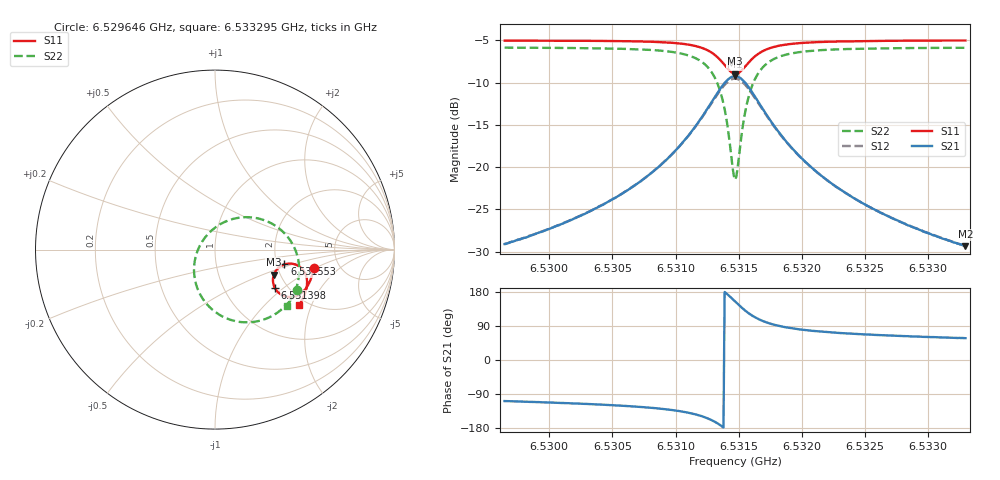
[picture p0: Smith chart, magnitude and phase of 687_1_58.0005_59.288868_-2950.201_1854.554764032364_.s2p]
#  HZ  S  RI  R  50.00
! Rohde & Schwarz Vector Network Analyzer
! Rohde-Schwarz,ZNB20-2Port,1311601062101988,3.16
! Created: UTC 3/21/2024, 1:21:06 AM
! freq[Hz]  re:S11  im:S11  re:S21  im:S21  re:S12  im:S12  re:S22  im:S22
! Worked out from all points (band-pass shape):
!   401 points, 6.529646 GHz to 6.533295 GHz, reference 50 ohm
!   highest |S21| = -9.24 dB at 6.531471 GHz (marker M1); lowest = -29.4 dB at 6.533295 GHz (marker M2)
!   |S21| within 3 dB of the highest: 6.531288 GHz to 6.531653 GHz (364.9 kHz wide, 0.00559 % of centre)
!   lowest |S11| = -9.0 dB at 6.531471 GHz (marker M3), VSWR 2.11, Z = 92.8 - j29.5 ohm
!   |S11| at or under -10 dB: nowhere
!   |S22| runs from -21.5 to -5.9 dB; largest |S21 - S12| = 0.015
!   S11 on the Smith chart (normalised r, x): 6.529646 GHz: 3.23, -0.98; 6.531398 GHz: 1.72, -0.87; 6.531553 GHz: 2.20, -0.43; 6.533295 GHz: 1.83, -1.64
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6.5296462e9  0.5506 -0.1037  -0.011 -0.0332  -0.0117 -0.0331  0.4574 -0.2233
6.5302574e9  0.5369 -0.1557  -0.0224 -0.0468  -0.0235 -0.0464  0.4204 -0.2815
6.530604e9  0.5229 -0.1893  -0.0373 -0.0613  -0.0389 -0.0604  0.3817 -0.3239
6.5308686e9  0.5039 -0.2197  -0.0621 -0.0792  -0.0646 -0.0773  0.3261 -0.3648
6.5310784e9  0.4729 -0.2478  -0.108 -0.0985  -0.111 -0.0945  0.2343 -0.3997
6.5312426e9  0.4193 -0.2643  -0.1915 -0.0998  -0.1935 -0.0913  0.083 -0.3902
6.5313338e9  0.3683 -0.2507  -0.2697 -0.0597  -0.2668 -0.0477  -0.0433 -0.3063
6.5313703e9  0.3464 -0.2325  -0.3017 -0.0219  -0.2952 -0.0101  -0.0892 -0.2368
6.5313977e9  0.3326 -0.2122  -0.32 0.0167  -0.3106 0.0277  -0.1114 -0.1689
6.5314524e9  0.3236 -0.158  -0.3238 0.1141  -0.3102 0.1192  -0.098 -0.00893
6.5314707e9  0.3284 -0.139  -0.3122 0.147  -0.2983 0.1498  -0.0728 0.0425
6.5314889e9  0.337 -0.1213  -0.2944 0.177  -0.2808 0.1774  -0.038 0.0877
6.5315254e9  0.363 -0.0942  -0.2447 0.2224  -0.2338 0.2191  0.0508 0.1528
6.5315528e9  0.3864 -0.0823  -0.2026 0.2412  -0.1941 0.2366  0.1233 0.176
6.5315893e9  0.417 -0.0776  -0.1492 0.2485  -0.1434 0.2435  0.2133 0.1783
6.5316257e9  0.443 -0.0816  -0.1046 0.2419  -0.1008 0.2375  0.287 0.1589
6.5317352e9  0.4895 -0.1127  -0.0256 0.1946  -0.0241 0.1924  0.4122 0.0612
6.5318629e9  0.5083 -0.1485  0.00787 0.1454  0.00895 0.1446  0.459 -0.0359
6.5320819e9  0.5129 -0.1914  0.0222 0.0961  0.0233 0.0959  0.4687 -0.1364
6.5323464e9  0.5068 -0.2262  0.0236 0.0661  0.0247 0.0658  0.4563 -0.203
6.5326931e9  0.4947 -0.2601  0.0217 0.046  0.0225 0.0455  0.4355 -0.2557
6.5332951e9  0.4703 -0.3068  0.0182 0.0287  0.0188 0.0284  0.4002 -0.3131
